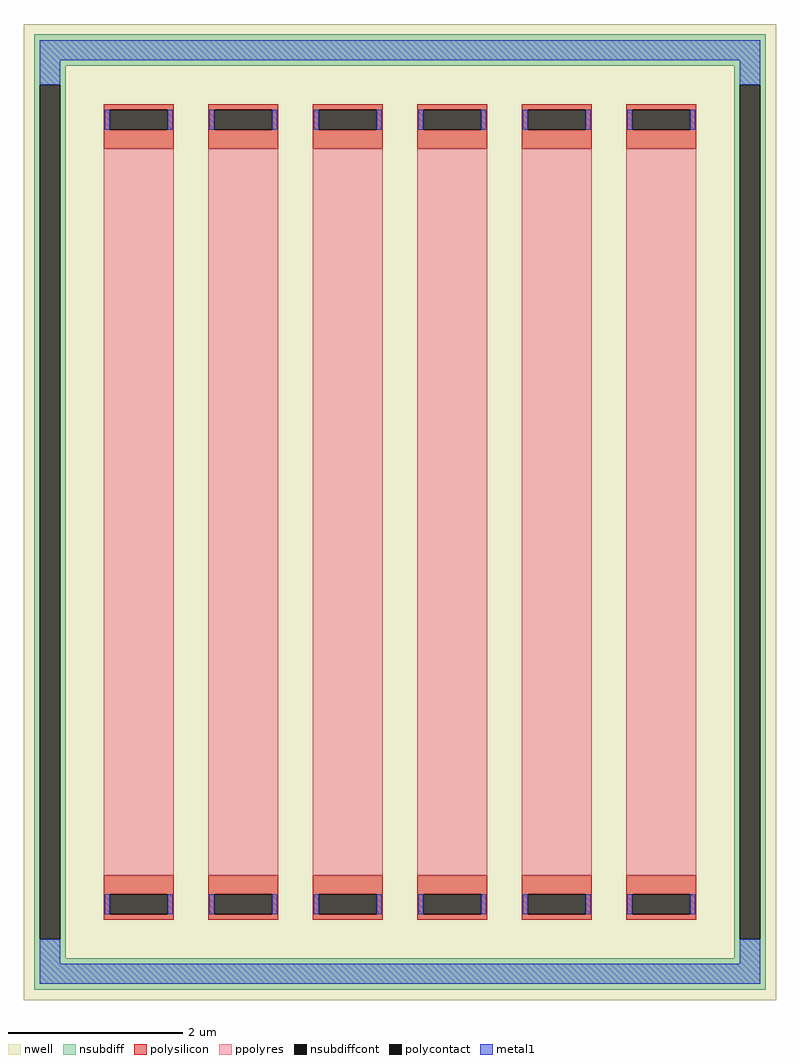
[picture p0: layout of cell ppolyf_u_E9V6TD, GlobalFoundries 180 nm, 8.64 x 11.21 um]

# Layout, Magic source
magic
tech gf180mcuC
magscale 1 10
<< nwell >>
rect -864 -1121 864 1121
<< nsubdiff >>
rect -840 1025 840 1097
rect -840 981 -768 1025
rect -840 -981 -827 981
rect -781 -981 -768 981
rect 768 981 840 1025
rect -840 -1025 -768 -981
rect 768 -981 781 981
rect 827 -981 840 981
rect 768 -1025 840 -981
rect -840 -1097 840 -1025
<< nsubdiffcont >>
rect -827 -981 -781 981
rect 781 -981 827 981
<< polysilicon >>
rect -680 924 -520 937
rect -680 878 -667 924
rect -533 878 -520 924
rect -680 834 -520 878
rect -680 -878 -520 -834
rect -680 -924 -667 -878
rect -533 -924 -520 -878
rect -680 -937 -520 -924
rect -440 924 -280 937
rect -440 878 -427 924
rect -293 878 -280 924
rect -440 834 -280 878
rect -440 -878 -280 -834
rect -440 -924 -427 -878
rect -293 -924 -280 -878
rect -440 -937 -280 -924
rect -200 924 -40 937
rect -200 878 -187 924
rect -53 878 -40 924
rect -200 834 -40 878
rect -200 -878 -40 -834
rect -200 -924 -187 -878
rect -53 -924 -40 -878
rect -200 -937 -40 -924
rect 40 924 200 937
rect 40 878 53 924
rect 187 878 200 924
rect 40 834 200 878
rect 40 -878 200 -834
rect 40 -924 53 -878
rect 187 -924 200 -878
rect 40 -937 200 -924
rect 280 924 440 937
rect 280 878 293 924
rect 427 878 440 924
rect 280 834 440 878
rect 280 -878 440 -834
rect 280 -924 293 -878
rect 427 -924 440 -878
rect 280 -937 440 -924
rect 520 924 680 937
rect 520 878 533 924
rect 667 878 680 924
rect 520 834 680 878
rect 520 -878 680 -834
rect 520 -924 533 -878
rect 667 -924 680 -878
rect 520 -937 680 -924
<< polycontact >>
rect -667 878 -533 924
rect -667 -924 -533 -878
rect -427 878 -293 924
rect -427 -924 -293 -878
rect -187 878 -53 924
rect -187 -924 -53 -878
rect 53 878 187 924
rect 53 -924 187 -878
rect 293 878 427 924
rect 293 -924 427 -878
rect 533 878 667 924
rect 533 -924 667 -878
<< ppolyres >>
rect -680 -834 -520 834
rect -440 -834 -280 834
rect -200 -834 -40 834
rect 40 -834 200 834
rect 280 -834 440 834
rect 520 -834 680 834
<< metal1 >>
rect -827 1038 827 1084
rect -827 981 -781 1038
rect 781 981 827 1038
rect -678 878 -667 924
rect -533 878 -522 924
rect -438 878 -427 924
rect -293 878 -282 924
rect -198 878 -187 924
rect -53 878 -42 924
rect 42 878 53 924
rect 187 878 198 924
rect 282 878 293 924
rect 427 878 438 924
rect 522 878 533 924
rect 667 878 678 924
rect -678 -924 -667 -878
rect -533 -924 -522 -878
rect -438 -924 -427 -878
rect -293 -924 -282 -878
rect -198 -924 -187 -878
rect -53 -924 -42 -878
rect 42 -924 53 -878
rect 187 -924 198 -878
rect 282 -924 293 -878
rect 427 -924 438 -878
rect 522 -924 533 -878
rect 667 -924 678 -878
rect -827 -1038 -781 -981
rect 781 -1038 827 -981
rect -827 -1084 827 -1038
<< properties >>
string FIXED_BBOX -804 -1061 804 1061
string gencell ppolyf_u
string library gf180mcu
string parameters w 0.8 l 8.343 m 1 nx 6 wmin 0.80 lmin 1.00 rho 315 val 3.6k dummy 0 dw 0.07 term 0.0 sterm 0.0 caplen 0.4 snake 0 glc 1 grc 1 gtc 0 gbc 0 roverlap 0 endcov 100 full_metal 1
<< end >>
